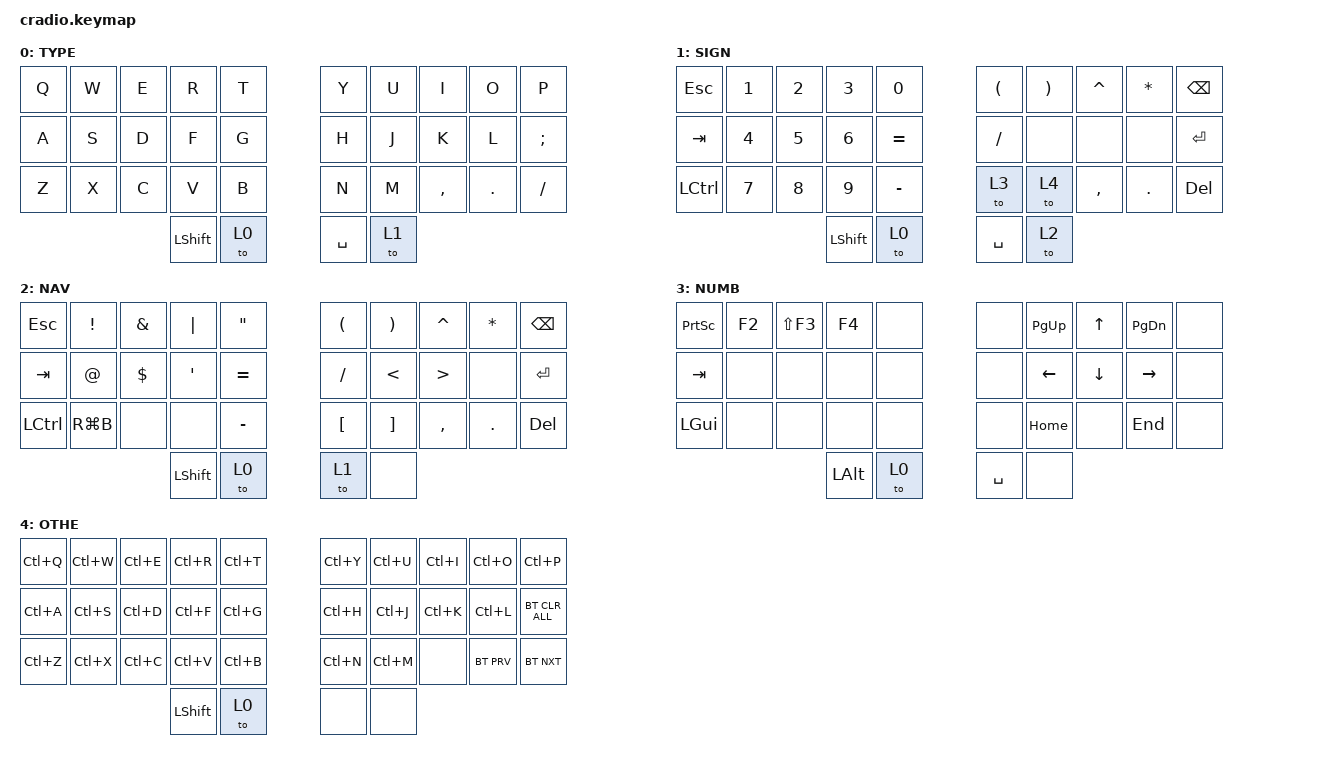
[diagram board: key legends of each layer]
// Copyright (c) 2022 The ZMK Contributors
// SPDX-License-Identifier: MIT

#include <behaviors.dtsi>
#include <dt-bindings/zmk/bt.h>
#include <dt-bindings/zmk/keys.h>

#define TYPE   0
#define SIGN   1
#define NAV    2
#define NUMB   3
#define OTHE   4

/ {
    behaviors {
        ht: hold_tap {
            label = "hold_tap";
            compatible = "zmk,behavior-hold-tap";
            #binding-cells = <2>;
            flavor = "tap-preferred";
            tapping-term-ms = <220>;
            quick-tap-ms = <150>;
            global-quick-tap;
            bindings = <&kp>, <&kp>;
        };
    };

    keymap {
        compatible = "zmk,keymap";

        default_layer {
            label = "TYPE";
            bindings = <
&kp Q  &kp W  &kp E  &kp R      &kp T    &kp Y      &kp U  &kp I      &kp O    &kp P
&kp A  &kp S  &kp D  &kp F      &kp G    &kp H      &kp J  &kp K      &kp L    &kp SEMICOLON
&kp Z  &kp X  &kp C  &kp V      &kp B    &kp N      &kp M  &kp COMMA  &kp DOT  &kp FSLH
                     &kp LSHFT  &to 0    &kp SPACE  &to 1
            >;
        };

        num_layer {
            label = "SIGN";
            bindings = <
&kp ESC           &kp NUMBER_1  &kp NUMBER_2  &kp NUMBER_3  &kp N0       &kp LEFT_PARENTHESIS  &kp RIGHT_PARENTHESIS  &kp CARET  &kp ASTERISK  &kp BSPC
&kp TAB           &kp NUMBER_4  &kp N5        &kp NUMBER_6  &kp EQUAL    &kp SLASH             &none                  &none      &none         &kp ENTER
&kp LEFT_CONTROL  &kp N7        &kp N8        &kp N9        &kp MINUS    &to 3                 &to 4                  &kp COMMA  &kp PERIOD    &kp DELETE
                                              &kp LSHFT     &to 0        &kp SPACE             &to 2
            >;
        };

        code_layer {
            label = "NAV";
            bindings = <
&kp ESC           &kp EXCLAMATION  &kp AMPERSAND  &kp PIPE   &kp DOUBLE_QUOTES    &kp LEFT_PARENTHESIS  &kp RIGHT_PARENTHESIS  &kp CARET         &kp ASTERISK  &kp BSPC
&kp TAB           &kp AT_SIGN      &kp DOLLAR     &kp SQT    &kp EQUAL            &kp SLASH             &kp LESS_THAN          &kp GREATER_THAN  &none         &kp ENTER
&kp LEFT_CONTROL  &kp RG(B)        &none          &none      &kp MINUS            &kp LEFT_BRACKET      &kp RIGHT_BRACKET      &kp COMMA         &kp PERIOD    &kp DEL
                                                  &kp LSHFT  &to 0                &to 1                 &none
            >;
        };

        nav_layer {
            label = "NUMB";
            bindings = <
&kp PRINTSCREEN  &kp F2  &kp LS(F3)  &kp F4        &none    &none      &kp PAGE_UP     &kp UP_ARROW    &kp PAGE_DOWN    &none
&kp TAB          &none   &none       &none         &none    &none      &kp LEFT_ARROW  &kp DOWN_ARROW  &kp RIGHT_ARROW  &none
&kp LEFT_GUI     &none   &none       &none         &none    &none      &kp HOME        &none           &kp END          &none
                                     &kp LEFT_ALT  &to 0    &kp SPACE  &none
            >;
        };

        othe_layer {
            label = "OTHE";
            bindings = <
&kp LC(Q)  &kp LC(W)  &kp LC(E)  &kp LC(R)  &kp LC(T)    &kp LC(Y)  &kp LC(U)  &kp LC(I)  &kp LC(O)   &kp LC(P)
&kp LC(A)  &kp LC(S)  &kp LC(D)  &kp LC(F)  &kp LC(G)    &kp LC(H)  &kp LC(J)  &kp LC(K)  &kp LC(L)   &bt BT_CLR_ALL
&kp LC(Z)  &kp LC(X)  &kp LC(C)  &kp LC(V)  &kp LC(B)    &kp LC(N)  &kp LC(M)  &none      &bt BT_PRV  &bt BT_NXT
                                 &kp LSHFT  &to 0        &none      &none
            >;
        };
    };
};
